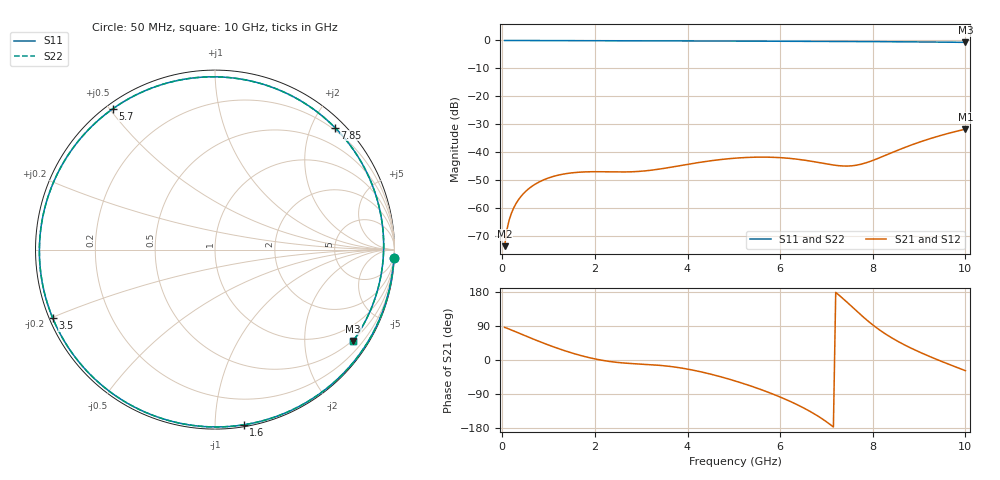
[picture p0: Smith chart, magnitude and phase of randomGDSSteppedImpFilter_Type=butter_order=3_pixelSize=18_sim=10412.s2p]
! freq	dB(S11)	phase(S11)	dB(S12)	phase(S12)
!  dB(S21)	phase(S21)	dB(S22)	phase(S22)
!S-par simulation data
#  GHz  S  DB  R 50
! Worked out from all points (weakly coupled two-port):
!   200 points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, 50 MHz to 10 GHz, reference 50 ohm
!   highest |S21| = -31.78 dB at 10 GHz (marker M1); lowest = -73.7 dB at 50 MHz (marker M2)
!   lowest |S11| = -0.7 dB at 10 GHz (marker M3), VSWR 24.92, Z = 23.8 - j163 ohm
!   |S11| at or under -10 dB: nowhere
!   |S22| runs from -0.7 to 0.0 dB; largest |S21 - S12| = 0
!   S11 on the Smith chart (normalised r, x): 50 MHz: 1, -45; 1.6 GHz: 0.01, -1.18; 3.5 GHz: 0.01, -0.20; 5.7 GHz: 0.02, +0.51; 7.85 GHz: 0.16, +2.37; 10 GHz: 0.48, -3.26
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0.05  -0.01 -2.6  -73.66 85.9  -73.66 85.9  -0.01 -2.6
0.1  -0.02 -5.2  -67.71 83.9  -67.71 83.9  -0.02 -5.2
0.2  -0.03 -10.6  -61.75 79.0  -61.75 79.0  -0.03 -10.6
0.45  -0.04 -23.8  -54.97 66.2  -54.97 66.2  -0.04 -23.8
0.7  -0.05 -36.8  -51.57 53.7  -51.57 53.7  -0.05 -36.8
1.05  -0.07 -54.5  -48.95 37.2  -48.95 37.2  -0.07 -54.5
1.6  -0.09 -80.7  -47.25 15.0  -47.25 15.0  -0.09 -80.7
1.75  -0.10 -87.5  -47.09 10.0  -47.09 10.0  -0.10 -87.5
2.5  -0.13 -119.2  -47.10 -6.6  -47.10 -6.6  -0.13 -119.2
2.95  -0.14 -136.7  -46.89 -10.5  -46.89 -10.5  -0.14 -136.7
3.4  -0.16 -153.4  -46.05 -14.1  -46.05 -14.1  -0.16 -153.4
3.5  -0.16 -157.0  -45.79 -15.3  -45.79 -15.3  -0.16 -157.0
4.25  -0.19 176.5  -43.69 -30.2  -43.69 -30.2  -0.19 176.5
5.05  -0.23 148.7  -42.13 -56.1  -42.13 -56.1  -0.23 148.7
5.7  -0.27 125.8  -41.79 -83.2  -41.79 -83.2  -0.27 125.8
6.2  -0.30 107.8  -42.22 -108.3  -42.22 -108.3  -0.30 107.8
6.7  -0.33 89.3  -43.33 -139.5  -43.33 -139.5  -0.33 89.3
7.4  -0.38 62.8  -44.98 157.4  -44.98 157.4  -0.38 62.8
7.85  -0.42 45.5  -43.84 107.7  -43.84 107.7  -0.42 45.5
8.35  -0.46 26.4  -40.61 62.9  -40.61 62.9  -0.46 26.3
9.15  -0.55 -3.5  -35.63 13.3  -35.63 13.3  -0.55 -3.6
10  -0.70 -33.4  -31.78 -28.2  -31.78 -28.2  -0.70 -33.5
